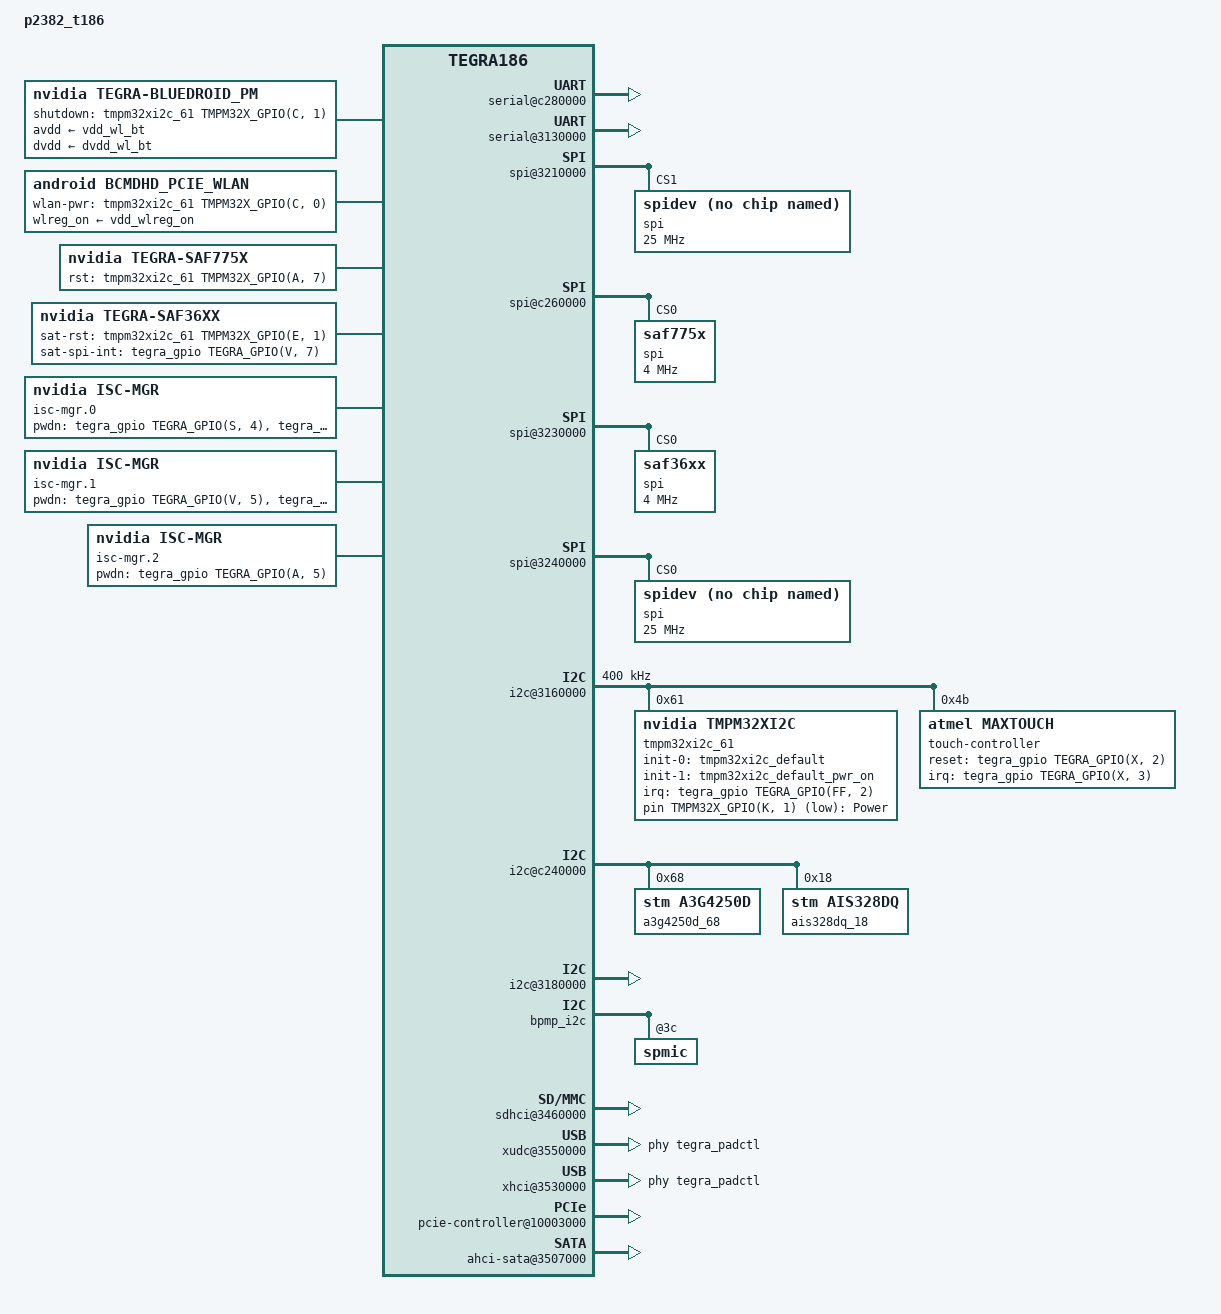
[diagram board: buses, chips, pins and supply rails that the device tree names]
/*
 * tegra186-vcm31-p2382-common.dtsi: VCM3.1 based P2382(sunstreaker)
 * common dtsi.
 *
 * Copyright (c) 2015 - 2017, NVIDIA CORPORATION.  All rights reserved.
 *
 * This program is free software; you can redistribute it and/or modify
 * it under the terms of the GNU General Public License as published by
 * the Free Software Foundation; version 2 of the License.
 *
 * This program is distributed in the hope that it will be useful, but WITHOUT
 * ANY WARRANTY; without even the implied warranty of MERCHANTABILITY or
 * FITNESS FOR A PARTICULAR PURPOSE.  See the GNU General Public License for
 * more details.
 */

#include <dt-bindings/types.h>
#include <dt-bindings/input/input.h>
#include <dt-bindings/gpio/tmpm32x-gpio.h>
#include <dt-bindings/input/atmel_mxt_ts.h>
/dts-v1/;

/memreserve/ 0x80000000 0x00010000;

#include "tegra186-platforms/tegra186-vcm31.dtsi"
#include "tegra186-platforms/tegra186-vcm31-power-tree-p2382-010-a01-00.dtsi"

#define EXTCON_NONE		0
#define EXTCON_USB             1
#define EXTCON_USB_Host        2

/ {
        model = "p2382_t186";
        compatible = "nvidia,p2382_t186", "nvidia,tegra186";

        nvidia,dtbbuildtime = __DATE__, __TIME__;
        #address-cells = <2>;
        #size-cells = <2>;

	pmc@c360000 {
		io-pad-defaults {
			sdmmc1-hv {
				nvidia,enable-dynamic-pad-voltage;
			};

			sdmmc3-hv {
				nvidia,enable-dynamic-pad-voltage;
			};
		};
	};

	serial@c280000 { /* TEGRA UARTC <-> VCM UARTC: satellite Radio */
		status = "okay";
	};

	serial@3130000 { /* Tegra UARTD <-> VCM UARTD: BT */
		status = "okay";
	};

	spi@3210000 { /* Tegra SPI1 <-> VCM SPIB: Display AIC */
		status = "okay";
		spi@0 {
			compatible = "spidev";
			reg = <1>;
			spi-max-frequency = <25000000>;
		};
	};

	spi@c260000 { /* Tegra SPI2 <-> VCM SPIA: Dirana */
		status = "okay";
		spi@0 {
			compatible = "saf775x";
			reg = <0>;
			spi-max-frequency = <4000000>;
			spi-cpha;
			controller-data {
				nvidia,clk-delay-between-packets = <10>;
				nvidia,chipselect-gpio = <&tegra_gpio TEGRA_GPIO(N,0) 0>;
			};
		};
	};

	spi@3230000 { /* Tegra SPI3 <-> VCM SPID: HD, DAB AIC, */
		status = "okay";
		spi@0 {
			compatible = "saf36xx";
			reg = <0>;
			spi-max-frequency = <4000000>;
			spi-cpha;
		};
	};

	spi@3240000 { /* Tegra SPI4 <-> VCM SPIC: MCU */
		status = "okay";
		spi@0 {
			compatible = "spidev";
			reg = <0>;
			spi-max-frequency = <25000000>;
		};
	};

	i2c@3160000 { /* Tegra I2C1 - VCM I2CA */
		clock-frequency = <400000>;
		saf775x@1c {
			 compatible = "saf775x";
			 reg = <0x1c>;
			 status = "disabled";
		};

		tmpm32xi2c_61: tmpm32xi2c@61 {
			compatible = "nvidia,tmpm32xi2c";
			gpio-controller;
			#gpio-cells = <2>;
			interrupt-controller;
			#interrupt-cells = <2>;
			reg = <0x61>;
			interrupt-parent = <&tegra_gpio>;
			interrupts = <TEGRA_GPIO(FF, 2) 0x0>;
			tmpm32xi2c,irq_flags = <IRQ_TYPE_LEVEL_LOW>;
			gpio-init-names = "default", "pwr_on_default";
			gpio-init-0 = <&tmpm32xi2c_default>;
			gpio-init-1 = <&tmpm32xi2c_default_pwr_on>;
			tmpm32xi2c_default: default {
				gpio-output-low = <
					TMPM32X_GPIO(C, 1)
					TMPM32X_GPIO(E, 5)
					>;
				gpio-output-high = <
					TMPM32X_GPIO(C, 0)
					>;
			};
			tmpm32xi2c_default_pwr_on: pwr_on_default {
			};
		};

		touch-controller@4b {
			compatible = "atmel,maxtouch";
			reg = <0x4b>;
			interrupt-parent = <&tegra_gpio>;
			interrupts = <TEGRA_GPIO(X, 3) 0x0>;
			atmel,irq_flags = <IRQ_TYPE_LEVEL_LOW>;
			atmel,reset-gpio = <&tegra_gpio TEGRA_GPIO(X, 2) GPIO_ACTIVE_HIGH>;
			atmel,suspend-mode = <MXT_SUSPEND_REGULATOR>;
			status = "okay";
		};
	};

	i2c@c240000 { /* Tegra I2C2 <-> VCM I2CB */
		nvidia,clock-always-on;
		a3g4250d_68: a3g4250d@68 {
			compatible = "stm,a3g4250d";
			reg = <0x68>;
			gyroscope_matrix = [ff 00 00 00 ff 00 00 00 01];
		};
		ais328dq_18: ais328dq@18 {
			compatible = "stm,ais328dq";
			reg = <0x18>;
			accelerometer_matrix = [ff 00 00 00 ff 00 00 00 01];
		};
		ublox_42: ublox@42 {
			compatible = "ublox,ublox_gps";
			reg = <0x42>;
			status = "disabled";
		};
	};

	i2c@3180000 { /* Tegra I2C3 - VCM I2CD */
		status = "okay";
	};


	bluedroid_pm { /* BCM89359 */
		compatible = "nvidia,tegra-bluedroid_pm";
		id = <0>;
		bluedroid_pm,shutdown-gpio = <&tmpm32xi2c_61 TMPM32X_GPIO(C, 1) 0>;
		avdd-supply = <&vdd_wl_bt>;
		dvdd-supply = <&dvdd_wl_bt>;
	};

	bcmdhd_pcie_wlan {
		compatible = "android,bcmdhd_pcie_wlan";
		wlan-pwr-gpio = <&tmpm32xi2c_61 TMPM32X_GPIO(C, 0) GPIO_ACTIVE_HIGH>;
		wlreg_on-supply = <&vdd_wlreg_on>;
		fw_path = "/system/vendor/firmware/fw_bcmdhd.bin";
		nv_path = "/system/etc/nvram_murata_4359_b1.txt";
		status = "okay";
	};

	saf775x { /* dirana3 */
		status = "okay";
		compatible = "nvidia,tegra-saf775x";
		id = <0>;
		rst-gpio = <&tmpm32xi2c_61 TMPM32X_GPIO(A, 7) 0>;
	};
	saf36xx { /* Saturn */
		compatible = "nvidia,tegra-saf36xx";
		id = <0>;
		sat-rst-gpio = <&tmpm32xi2c_61 TMPM32X_GPIO(E, 1) 0>;
		sat-spi-int-gpio = <&tegra_gpio TEGRA_GPIO(V, 7) 0>;
	};
	pinctrl@3520000 {
		status = "okay";
		pinctrl-0 = <&p2382_padctl_default>;
		pinctrl-names = "default";
		p2382_padctl_default: pinmux {
			usb2-std-A-port1 {
				nvidia,lanes = "otg-0";
				nvidia,function = "xusb";
				nvidia,port-cap = <TEGRA_PADCTL_PORT_OTG_CAP>;
			};
			usb3-std-A-port1 {
				nvidia,lanes = "usb3-1";
				nvidia,port-cap = <TEGRA_PADCTL_PORT_OTG_CAP>;
			};
			usb2-modem {
				nvidia,lanes = "otg-1";
				nvidia,function = "xusb";
				nvidia,port-cap = <TEGRA_PADCTL_PORT_HOST_ONLY>;
			};
			usb2-std-A-port2 {
				nvidia,lanes = "otg-2";
				nvidia,function = "xusb";
				nvidia,port-cap = <TEGRA_PADCTL_PORT_HOST_ONLY>;
			};
			usb3-std-A-port2 {
				nvidia,lanes = "usb3-2";
				nvidia,port-cap = <TEGRA_PADCTL_PORT_HOST_ONLY>;
			};
		};
	};

	bpmp_i2c {
		spmic: spmic@3c {
			pinctrl-names = "default";
			pinctrl-0 = <&spmic_default>;
			spmic_default: pinmux@0 {
				pin_gpio0 { /* USB ID */
				pins = "gpio0";
				function = "gpio";
				};
			};
		};
	};

        sdhci@3460000 { /* SDMMC_D: Used for eMMc */
                        status = "okay";
                        uhs-mask = <0x40>;   /*HS400 is not supported*/
        };

	external-connection {
		vbus_id_extcon: extcon@1 {
			compatible = "extcon-gpio-states";
			reg = <0x1>;
			extcon-gpio,name = "VBUS";
			/*
			 * Array of gstate(input), cstate(output) pairs. Each
			 * pair shows how to map GPIO signal values into cable
			 * states as defined by the consumer in question.
			 * Here:
			 *
			 * gstate[x].bit0 -> ID signal input
			 *
			 * cstate[x].bit0 -> VBUS cable
			 * cstate[x].bit1 -> nID cable
			 *
			 * Since we don't support VBUS sensing, in gadget mode
			 * (cstate[x].bit1 == 0), set cstate[x].bit0 to 1.
			 */
			extcon-gpio,cable-states = <0x1 0x1
						0x0 0x2>;
			gpios = <&spmic 0 0>;
			extcon-gpio,out-cable-name-strings = "USB", "USB-Host";
			extcon-gpio,out-cable-names = <EXTCON_USB EXTCON_USB_Host EXTCON_NONE>;
			#extcon-cells = <1>;
		};
	};

	mailbox@3538000 {
		status = "okay";
	};

	xudc@3550000 {
		status = "okay";
		extcon-cables = <&vbus_id_extcon 0>;
		extcon-cable-names = "vbus";
		#extcon-cells = <1>;
		phys = <&tegra_padctl TEGRA_PADCTL_PHY_UTMI_P(0)>,
			<&tegra_padctl TEGRA_PADCTL_PHY_USB3_P(1)>;
		phy-names = "usb2", "usb3";
	};

	xhci@3530000 {
		status = "okay";
		nvidia,pmc-usb-wakes-disabled;
		extcon-cables = <&vbus_id_extcon 1>;
		extcon-cable-names = "id";
		#extcon-cells = <1>;
		phys = <&tegra_padctl TEGRA_PADCTL_PHY_UTMI_P(0)>,
			<&tegra_padctl TEGRA_PADCTL_PHY_UTMI_P(1)>,
			<&tegra_padctl TEGRA_PADCTL_PHY_UTMI_P(2)>,
			<&tegra_padctl TEGRA_PADCTL_PHY_USB3_P(1)>,
			<&tegra_padctl TEGRA_PADCTL_PHY_USB3_P(2)>;
		phy-names = "utmi-0", "utmi-1", "utmi-2", "usb3-1", "usb3-2";
	};

	pcie-controller@10003000 {
		/*
		 * Even though the board is using PCIe root ports in  0_0_1
		 * configuration, we have to provide 1_1_1 to the driver since
		 * it does not consider 0 to be a valid lane configuration for
		 * any of the ports.
		 */
		nvidia,lane-map = <0x111>;
		status = "okay";
		pci@1,0 {
			status = "disabled";
			nvidia,num-lanes = <0x1>;
		};
		pci@2,0 {
			status = "okay";
		};
	};

	mttcan@c310000 {
		gpio_can_stb = <&tegra_gpio TEGRA_GPIO(AA, 0) GPIO_ACTIVE_HIGH>;
		gpio_can_en = <&tegra_gpio TEGRA_GPIO(AA, 1) GPIO_ACTIVE_HIGH>;
		mram-params = <0 16 16 8 8 8 16 16 16>;
		tx-config = <8 8 0 64>;
		rx-config = <64 64 64>;
		status = "okay";
	};

	mttcan@c320000 {
		gpio_can_stb = <&tegra_gpio TEGRA_GPIO(AA, 6) GPIO_ACTIVE_HIGH>;
		gpio_can_en = <&tegra_gpio TEGRA_GPIO(AA, 7) GPIO_ACTIVE_HIGH>;
		mram-params = <0 16 16 8 8 8 16 16 16>;
		tx-config = <8 8 0 64>;
		rx-config = <64 64 64>;
		status = "okay";
	};
	ahci-sata@3507000 {
		status = "okay";
	};

	tegra_wdt:watchdog@30c0000 {
		nvidia,shutdown-timeout = <0>;
		status = "okay";
	};

	adma@2930000 {
		dma-channels = <10>;
	};

	ahub {
		arad@290e400 {
			status = "okay";
		};
	};

	sound_ref {
		status = "okay";
		compatible = "nvidia,tegra-audio-t186ref-p2382";
		nvidia,model = "tegra186-snd-p2382";
		nvidia,num-clk = <8>;
		nvidia,clk-rates = < 282240000	/* PLLA_x11025_RATE */
				     11289600	/* AUD_MCLK_x11025_RATE */
				     45158400	/* PLLA_OUT0_x11025_RATE */
				     45158400	/* AHUB_x11025_RATE */
				     245760000  /* PLLA_x8000_RATE */
				     12288000	/* AUD_MCLK_x8000_RATE */
				     245760000	/* PLLA_OUT0_x8000_RATE */
				     49152000 >;/* AHUB_x8000_RATE */
		clocks =<&tegra_car TEGRA186_CLK_PLLP_OUT0>,
			<&tegra_car TEGRA186_CLK_PLLA>,
			<&tegra_car TEGRA186_CLK_PLL_A_OUT0>,
			<&tegra_car TEGRA186_CLK_AHUB>,
			<&tegra_car TEGRA186_CLK_CLK_M>,
			<&tegra_car TEGRA186_CLK_AUD_MCLK>;
		clock-names = "pll_p_out1", "pll_a", "pll_a_out0", "ahub", "clk_m",
			"extern1";
		resets = <&tegra_car TEGRA186_RESET_AUD_MCLK>;
		reset-names = "extern1_rst";
		nvidia,num-codec-link = <4>;
		nvidia,num-amx = <4>;
		nvidia,num-adx = <4>;
		nvidia,amx-slot-size = <32 32 32 32>;
		nvidia,adx-slot-size = <32 32 32 32>;
		nvidia,amx1-slot-map = <
			/* slot 0 - Hi */
			TDM_SLOT_MAP(0, 1, 0)
			TDM_SLOT_MAP(0, 1, 1)
			/* slot 1 - Hi */
			TDM_SLOT_MAP(0, 2, 0)
			TDM_SLOT_MAP(0, 2, 1)
			/* slot 2 - Hi */
			TDM_SLOT_MAP(1, 1, 0)
			TDM_SLOT_MAP(1, 1, 1)
			/* slot 3 - Hi */
			TDM_SLOT_MAP(1, 2, 0)
			TDM_SLOT_MAP(1, 2, 1)
			/* slot 4 - Hi */
			TDM_SLOT_MAP(2, 1, 0)
			TDM_SLOT_MAP(2, 1, 1)
			/* slot 5 - Hi */
			TDM_SLOT_MAP(2, 2, 0)
			TDM_SLOT_MAP(2, 2, 1)
			/* slot 6 - Hi */
			TDM_SLOT_MAP(3, 1, 0)
			TDM_SLOT_MAP(3, 1, 1)
			/* slot 7 - Hi */
			TDM_SLOT_MAP(3, 2, 0)
			TDM_SLOT_MAP(3, 2, 1)
			/* slot 0 to 7 - Low */
			TDM_SLOT_MAP(0, 0, 0)
			TDM_SLOT_MAP(0, 0, 0)
			TDM_SLOT_MAP(0, 0, 0)
			TDM_SLOT_MAP(0, 0, 0)
			TDM_SLOT_MAP(0, 0, 0)
			TDM_SLOT_MAP(0, 0, 0)
			TDM_SLOT_MAP(0, 0, 0)
			TDM_SLOT_MAP(0, 0, 0)
			TDM_SLOT_MAP(0, 0, 0)
			TDM_SLOT_MAP(0, 0, 0)
			TDM_SLOT_MAP(0, 0, 0)
			TDM_SLOT_MAP(0, 0, 0)
			TDM_SLOT_MAP(0, 0, 0)
			TDM_SLOT_MAP(0, 0, 0)
			TDM_SLOT_MAP(0, 0, 0)
			TDM_SLOT_MAP(0, 0, 0)>;

		nvidia,adx1-slot-map = <
			/* slot 0 - Hi */
			TDM_SLOT_MAP(0, 1, 0)
			TDM_SLOT_MAP(0, 1, 1)
			/* slot 1 - Hi */
			TDM_SLOT_MAP(0, 2, 0)
			TDM_SLOT_MAP(0, 2, 1)
			/* slot 2 - Hi */
			TDM_SLOT_MAP(1, 1, 0)
			TDM_SLOT_MAP(1, 1, 1)
			/* slot 3 - Hi */
			TDM_SLOT_MAP(1, 2, 0)
			TDM_SLOT_MAP(1, 2, 1)
			/* slot 4 - Hi */
			TDM_SLOT_MAP(2, 1, 0)
			TDM_SLOT_MAP(2, 1, 1)
			/* slot 5 - Hi */
			TDM_SLOT_MAP(2, 2, 0)
			TDM_SLOT_MAP(2, 2, 1)
			/* slot 6 - Hi */
			TDM_SLOT_MAP(3, 1, 0)
			TDM_SLOT_MAP(3, 1, 1)
			/* slot 7 - Hi */
			TDM_SLOT_MAP(3, 2, 0)
			TDM_SLOT_MAP(3, 2, 1)
			/* slot 0 to 7 - Low */
			/* slot 0 to 7 - Low */
			TDM_SLOT_MAP(0, 0, 0)
			TDM_SLOT_MAP(0, 0, 0)
			TDM_SLOT_MAP(0, 0, 0)
			TDM_SLOT_MAP(0, 0, 0)
			TDM_SLOT_MAP(0, 0, 0)
			TDM_SLOT_MAP(0, 0, 0)
			TDM_SLOT_MAP(0, 0, 0)
			TDM_SLOT_MAP(0, 0, 0)
			TDM_SLOT_MAP(0, 0, 0)
			TDM_SLOT_MAP(0, 0, 0)
			TDM_SLOT_MAP(0, 0, 0)
			TDM_SLOT_MAP(0, 0, 0)
			TDM_SLOT_MAP(0, 0, 0)
			TDM_SLOT_MAP(0, 0, 0)
			TDM_SLOT_MAP(0, 0, 0)
			TDM_SLOT_MAP(0, 0, 0)>;

		nvidia,audio-routing =
			"Headphone-x", "x OUT",
			"x IN", "LineIn-x",
			"Headphone-y", "y OUT",
			"y IN", "LineIn-y",
			"Headphone-d", "d OUT",
			"d IN", "LineIn-d",
			"BT-out", "b OUT",
			"b IN", "BT-in";

		nvidia,xbar = <&tegra_axbar>;

		nvidia,dai-link-1 {
			link-name = "p2382-audio-dsp-tdm1-1";
			cpu-dai = <&tegra_i2s3>;
			codec-dai = <&spdif_dit0>;
			cpu-dai-name = "I2S3";
			codec-dai-name = "dit-hifi";
			tx-mask = <0xFF>;
			rx-mask = <0xFF>;
			format = "dsp_a";
			bitclock-master;
			frame-master;
			bitclock-noninversion;
			frame-noninversion;
			bit-format = "s32_le";
			bclk_ratio = <1>;
			srate = <48000>;
			num-channel = <8>;
			name-prefix = "x";
		};

		nvidia,dai-link-2 {
			link-name = "p2382-audio-dsp-tdm1-2";
			cpu-dai = <&tegra_i2s4>;
			codec-dai = <&spdif_dit1>;
			cpu-dai-name = "I2S4";
			codec-dai-name = "dit-hifi";
			tx-mask = <0xFF>;
			rx-mask = <0xFF>;
			format = "dsp_a";
			bitclock-master;
			frame-master;
			bitclock-noninversion;
			frame-noninversion;
			bit-format = "s32_le";
			bclk_ratio = <1>;
			srate = <48000>;
			num-channel = <8>;
			name-prefix = "y";
		};

		nvidia,dai-link-3 {
			link-name = "dummy-playback";
			cpu-dai = <&tegra_i2s1>;
			codec-dai = <&spdif_dit2>;
			cpu-dai-name = "I2S1";
			codec-dai-name = "dit-hifi";
			tx-mask = <0xFF>;
			rx-mask = <0xFF>;
			format = "dsp_a";
			bitclock-slave;
			frame-slave;
			bitclock-noninversion;
			frame-noninversion;
			bit-format = "s32_le";
			bclk_ratio = <1>;
			srate = <48000>;
			num-channel = <8>;
			name-prefix = "d";
		};

		nvidia,dai-link-4 {
			link-name = "p2382-btsco";
			cpu-dai = <&tegra_i2s6>;
			codec-dai = <&spdif_dit3>;
			cpu-dai-name = "I2S6";
			codec-dai-name = "dit-hifi";
			format = "i2s";
			bitclock-master;
			frame-master;
			bit-format = "s16_le";
			bclk_ratio = <1>;
			srate = <8000>;
			num-channel = <2>;
			name-prefix = "b";
		};
	};

	adsp_audio {
		compr-ops = <0>;
		status = "okay";
		num-plugin = <6>;
		plugin-info-1 {
			plugin-name = "reverb";
			firmware-name = "libnvreverbfx.elf";
			widget-name = "REVERB";
			param-type = <2>; /* SNDRV_CTL_ELEM_TYPE_INTEGER */
		};
		plugin-info-2 {
			plugin-name = "wire";
			firmware-name = "libnvwirefx.elf";
			widget-name = "WIRE";
		};
		plugin-info-3 {
                        plugin-name = "eavb_dma_rx";
                        firmware-name = "libnveavb_dma_rxfx.elf";
                        widget-name = "EAVB_DMA_RX";
		};
		plugin-info-4 {
			plugin-name = "avb_depack";
			firmware-name = "libnvavb_depackfx.elf";
			widget-name = "AVB_DEPACK";
		};
		plugin-info-5 {
                        plugin-name = "eavb_dma_tx";
                        firmware-name = "libnveavb_dma_txfx.elf";
                        widget-name = "EAVB_DMA_TX";
		};
		plugin-info-6 {
			plugin-name = "avb_pack";
			firmware-name = "libnvavb_packfx.elf";
			widget-name = "AVB_PACK";
			param-type = <2>;
		};
	};

	isc-mgr.0 {
		compatible = "nvidia,isc-mgr";
		i2c-bus = <7>;
		csi-port = <0>;
		pwdn-gpios = < &tegra_gpio TEGRA_GPIO(S, 4) GPIO_ACTIVE_HIGH	/* GMSL_IN1_PDN */
			&tegra_gpio TEGRA_GPIO(I, 4) GPIO_ACTIVE_HIGH		/* CSI1_TV_EN1 */
			&tegra_gpio TEGRA_GPIO(I, 5) GPIO_ACTIVE_HIGH		/* CSI1_TV_EN2 */
			&tegra_gpio TEGRA_GPIO(I, 6) GPIO_ACTIVE_HIGH		/* CSI1_TV_EN3 */
			&tegra_gpio TEGRA_GPIO(I, 7) GPIO_ACTIVE_HIGH		/* CSI1_TV_EN4 */>;
		status = "okay";

		aggregator@6a {
			addr = <0x6a>;  /* 7 bit slave address */
			reg_len = <8>;  /* 8 bit register length */
			dat_len = <8>;  /* 8 bit data length */
		};
		serializer0@40 {
			addr = <0x40>;  /* 7 bit slave address */
			reg_len = <8>;  /* 8 bit register length */
			dat_len = <8>;  /* 8 bit data length */
		};
		sensor0@30 {
			addr = <0x30>;  /* 7 bit slave address */
			reg_len = <16>; /* 16 bit register length */
			dat_len = <8>;  /* 8 bit data length */
		};
	};

	isc-mgr.1 {
		compatible = "nvidia,isc-mgr";
		i2c-bus = <2>;
		csi-port = <2>;
		pwdn-gpios = < &tegra_gpio TEGRA_GPIO(V, 5) GPIO_ACTIVE_HIGH	/* GMSL_IN2_PDN */
			&tegra_gpio TEGRA_GPIO(Y, 1) GPIO_ACTIVE_HIGH		/* CSI2_TV_EN1 */
			&tegra_gpio TEGRA_GPIO(Y, 5) GPIO_ACTIVE_HIGH		/* CSI2_TV_EN2 */
			&tegra_gpio TEGRA_GPIO(B, 4) GPIO_ACTIVE_HIGH		/* CSI2_TV_EN3 */
			&tegra_gpio TEGRA_GPIO(B, 5) GPIO_ACTIVE_HIGH		/* CSI2_TV_EN4 */>;
		status = "okay";

		aggregator@6a {
			addr = <0x6a>;  /* 7 bit slave address */
			reg_len = <8>;  /* 8 bit register length */
			dat_len = <8>;  /* 8 bit data length */
		};
		serializer0@40 {
			addr = <0x40>;  /* 7 bit slave address */
			reg_len = <8>;  /* 8 bit register length */
			dat_len = <8>;  /* 8 bit data length */
		};
		sensor0@30 {
			addr = <0x30>;  /* 7 bit slave address */
			reg_len = <16>; /* 16 bit register length */
			dat_len = <8>;  /* 8 bit data length */
		};
	};

	isc-mgr.2 {
		compatible = "nvidia,isc-mgr";
		i2c-bus = <2>;
		csi-port = <4>;
		pwdn-gpios = < &tegra_gpio TEGRA_GPIO(A, 5) GPIO_ACTIVE_HIGH >;
		default-power-on;
		status = "okay";
	};

	sdhci@3400000 {
		/* 7F: disable all UHS mode */
                uhs-mask = <0x7F>;
	};

	sdhci@3440000 {
		/* 7F: disable all UHS mode */
                uhs-mask = <0x7F>;
	};

        ptm_a57_0: ptm@9840000 {
                status = "okay";
        };

        ptm_a57_1: ptm@9940000 {
                status = "okay";
        };

        ptm_a57_2: ptm@9a40000 {
                status = "okay";
        };

        ptm_a57_3: ptm@9b40000 {
                status = "okay";
        };

        funnel_bccplex@9010000 {
                status = "okay";
        };

        funnel_major@8010000 {
                status = "okay";
        };

        replicator@0x8040000 {
                status = "okay";
        };

        etf@8030000 {
                status = "okay";
        };

        tpiu@8060000 {
                status = "okay";
        };

	bpmp {
		bpmpthermal {
			status = "okay";
		};
	};

	cpus {
		status = "disabled";

	};

	soft_wdt:soft_watchdog {
		compatible = "softdog-platform";
		status = "okay";
	};

	gpio-keys {
		status = "okay";
		compatible = "gpio-keys";
		gpio-keys,name = "gpio-keys";

		power {
			label = "Power";
			interrupt-parent = <&tmpm32xi2c_61>;
			interrupts = <TMPM32X_GPIO(K, 1) 0x0>;
			gpios = <&tmpm32xi2c_61 TMPM32X_GPIO(K, 1) GPIO_ACTIVE_LOW>;
			linux,code = <KEY_POWER>;
			gpio-key,wakeup;
			debounce-interval = <5>;
		};
	};
};

